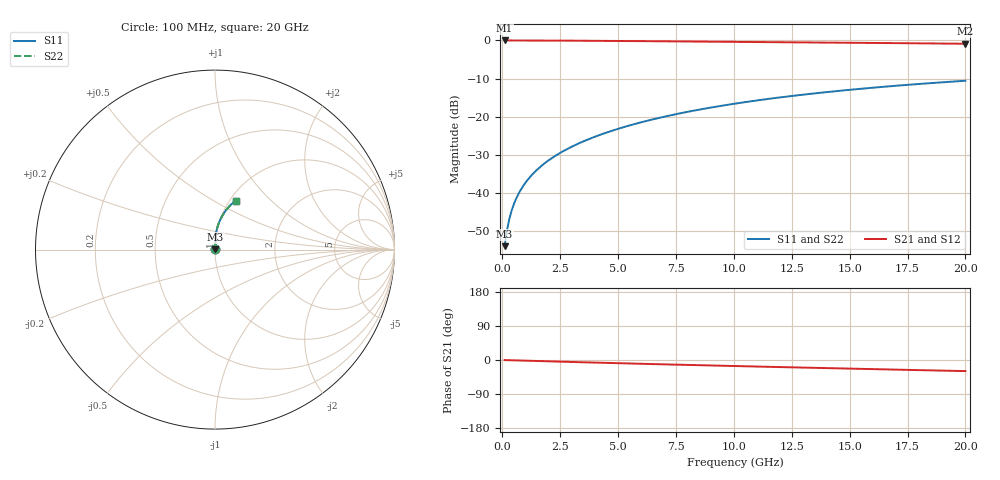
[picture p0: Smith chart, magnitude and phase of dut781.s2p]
! Touchstone file exported from HFSS 2024.1.0
!  File:  C:/UserFiles/LocalFiles/RDL_TSV_Batchsim/temp_RDL_top_781_1779852970.aedt
!  Generated:  11:38:33 AM May 27, 2026
!  Design:  RDL_top
!  Project:  temp_RDL_top_781_1779852970
!  Setup:  Setup1
!  Solution:  Sweep
! Variables:
!  dtsv = 10.80580581um
!  hbump = 3um
!  htsv = 56.27um
!  ldown = 100um
!  lrdl = 394.97um
!  p = 40
!  p1 = 54.93um
!  rhole = 1um
!  t = 450um
!  tdown = 3.915915916um
!  trdl = 4.95um
!  wdown = 15.38538539um
!  wrdl = 22.83um
# GHz S MA R 50.000000
! Terminal data exported
! Port[1] = Box2_T1
! Port[2] = Box2_T2
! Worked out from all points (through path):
!   200 points, 100 MHz to 20 GHz, reference 50 ohm
!   highest |S21| = -0.01 dB at 100 MHz (marker M1); lowest = -0.9 dB at 20 GHz (marker M2)
!   group delay of S21, straight-line fit = 4.02 ps
!   lowest |S11| = -54.0 dB at 100 MHz (marker M3), VSWR 1.00, Z = 50.1 + j0.143 ohm
!   |S11| at or under -10 dB: start of sweep to end of sweep
!   |S22| runs from -54.0 to -10.6 dB; largest |S21 - S12| = 2.6e-15
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0.1  0.002001 45.6  0.9986 -0.2  0.9986 -0.2  0.002001 45.6
! Gamma 0 0 0 0
! Port Impedance 50 0 50 0
0.2  0.003192 63.0  0.9985 -0.4  0.9985 -0.4  0.003192 63.0
0.3  0.004495 70.2  0.9984 -0.5  0.9984 -0.5  0.004495 70.2
0.4  0.005812 74.0  0.9983 -0.7  0.9983 -0.7  0.005812 74.0
0.5  0.007123 76.4  0.9981 -0.9  0.9981 -0.9  0.007122 76.4
0.7  0.009718 79.4  0.9979 -1.2  0.9979 -1.2  0.009717 79.4
0.8  0.01101 80.5  0.9978 -1.4  0.9978 -1.4  0.01101 80.5
1  0.01359 82.0  0.9975 -1.8  0.9975 -1.8  0.01359 82.0
1.2  0.01618 83.2  0.9972 -2.1  0.9972 -2.1  0.01618 83.2
1.4  0.01879 84.1  0.9968 -2.5  0.9968 -2.5  0.01879 84.1
1.7  0.02273 85.2  0.9961 -3.0  0.9961 -3.0  0.02273 85.2
2  0.02672 85.9  0.9953 -3.5  0.9953 -3.5  0.02672 85.9
2.7  0.03621 87.0  0.9932 -4.7  0.9932 -4.7  0.03621 87.0
3.5  0.04737 87.5  0.9902 -6.0  0.9902 -6.0  0.04737 87.5
4.2  0.05743 87.6  0.9871 -7.2  0.9871 -7.2  0.05743 87.6
5  0.06924 87.4  0.9834 -8.5  0.9834 -8.5  0.06924 87.4
6.8  0.09679 86.0  0.9744 -11.2  0.9744 -11.2  0.09679 86.0
8.4  0.122 84.2  0.9662 -13.6  0.9662 -13.6  0.122 84.2
10.1  0.149 81.9  0.9574 -16.0  0.9574 -16.0  0.149 81.9
13.4  0.2006 77.0  0.9401 -20.6  0.9401 -20.6  0.2006 77.0
16.7  0.2498 72.1  0.9225 -25.0  0.9225 -25.0  0.2498 72.1
20  0.2958 67.3  0.9044 -29.3  0.9044 -29.3  0.2958 67.3
